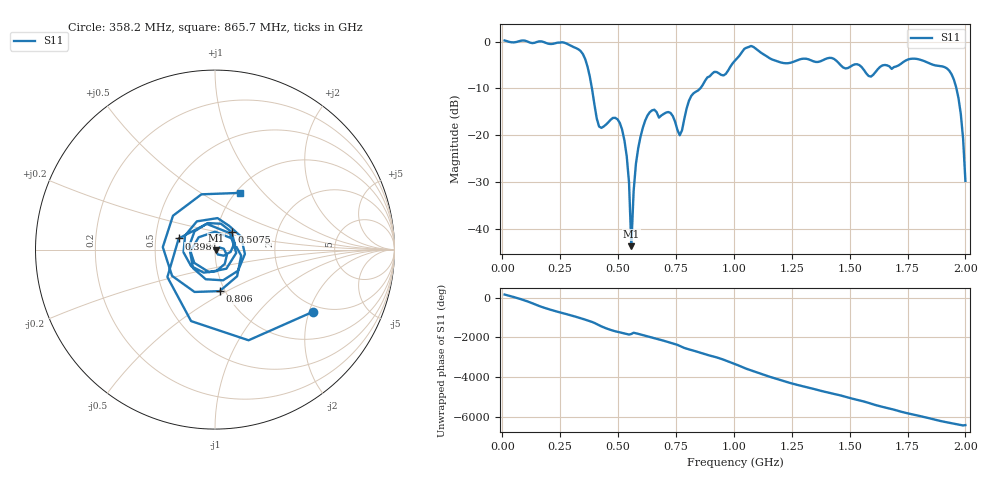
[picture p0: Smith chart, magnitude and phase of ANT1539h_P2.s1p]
!Created with skrf (http://scikit-rf.org).
# Hz S RI R 50.0
!freq ReS11 ImS11
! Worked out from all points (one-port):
!   201 points, 10 MHz to 2 GHz, reference 50 ohm
!   lowest |S11| = -43.7 dB at 557.2 MHz (marker M1), VSWR 1.01, Z = 50.6 - j0.345 ohm
!   |S11| at or under -10 dB: 387.1 MHz to 855.2 MHz (468.1 MHz wide, 75.4 % of centre); 1.961 GHz to end of sweep
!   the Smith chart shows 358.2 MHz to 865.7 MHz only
!   S11 on the Smith chart (normalised r, x): 358.2 MHz: 1.79, -2.13; 398.1 MHz: 0.66, +0.09; 507.5 MHz: 1.18, +0.24; 806 MHz: 0.94, -0.46; 865.7 MHz: 1.04, +0.75
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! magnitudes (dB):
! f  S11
! 10 MHz  0.2
! 258.8 MHz  -0.2
! 358.2 MHz  -3.8
! 398.1 MHz  -13.5
! 417.9 MHz  -18.1
! 507.5 MHz  -17.4
! 537.4 MHz  -24.5
! 547.3 MHz  -30.1
! 557.2 MHz  -43.7
! 567.2 MHz  -31.9
! 577.1 MHz  -26.1
! 617 MHz  -16.9
! 646.8 MHz  -14.7
! 716.5 MHz  -15.0
! 756.2 MHz  -18.9
! 776.1 MHz  -19.0
! 806 MHz  -12.7
! 865.7 MHz  -9.3
! 1.005 GHz  -4.1
! 1.075 GHz  -0.9
! 1.254 GHz  -4.4
! 1.502 GHz  -5.4
! 1.592 GHz  -7.5
! 1.751 GHz  -3.8
! 1.94 GHz  -7.0
! 1.98 GHz  -15.4
! 1.99 GHz  -20.7
! 2 GHz  -29.8
